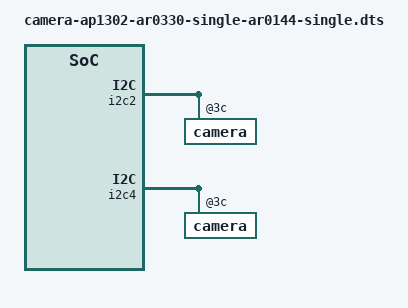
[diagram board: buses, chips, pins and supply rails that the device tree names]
// SPDX-License-Identifier: GPL-2.0
/*
 * Copyright (c) 2020 Baylibre, SAS
 * Author: Phi-Bang Nguyen <pnguyen@baylibre.com>
 */

#include "camera-ap1302-ar0330-dual-ar0144-dual.dtsi"

/ {
	fragment@7 {
		target = <&i2c2>;
		__overlay__ {
			camera@3c {
				sensors {
					sensor@1 {
						status = "disabled";
					};
				};
			};
		};
	};

	fragment@8 {
		target = <&i2c4>;
		__overlay__ {
			camera@3c {
				sensors {
					sensor@1 {
						status = "disabled";
					};
				};
			};
		};
	};
};
